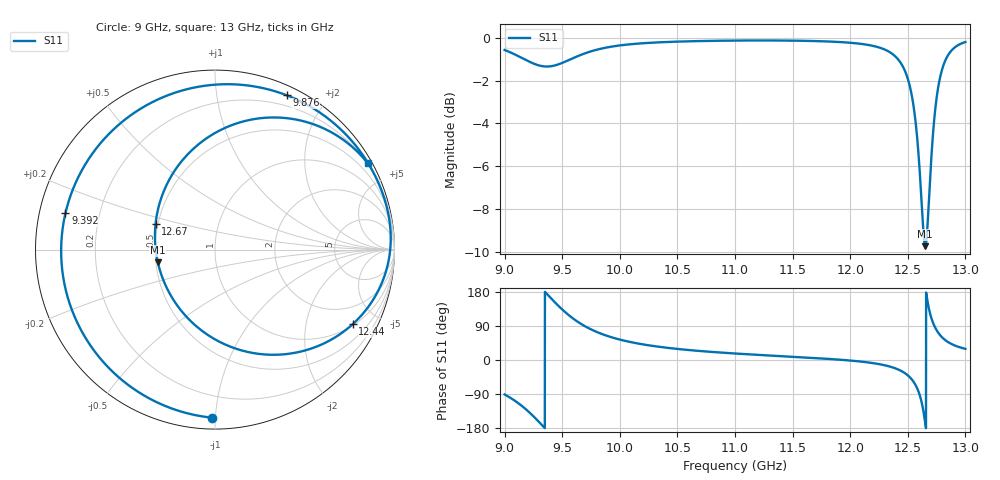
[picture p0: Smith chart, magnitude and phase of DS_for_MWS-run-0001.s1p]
! TOUCHSTONE file generated by CST DESIGN STUDIO
! Date and time: Tue Feb  4 13:24:44 2025
! Project name: C:\Work\MatlabApps\UnitCellOptimizationMatlab\CST\unitcell.cst
! Tree item: Tasks\Sweep1\SPara1\S-Parameters
! Header version: 2024
! Port assignment regex: !\s*Touchstone port\s*([0-9]+)\s*=\s*(CST MWS port|CST DES external port|CST DES block port)\s*(.+)\s* \(\"(.*)\"\)(\s*mode\s*([0-9]+))?.*
! Touchstone port assignment:
! Touchstone port 1 = CST DES external port 1 ("")
# GHz S MA R 50
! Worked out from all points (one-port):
!   4001 points, 9 GHz to 13 GHz, reference 50 ohm
!   lowest |S11| = -9.7 dB at 12.65 GHz (marker M1), VSWR 1.97, Z = 25.6 - j4.05 ohm
!   |S11| at or under -10 dB: nowhere
!   S11 on the Smith chart (normalised r, x): 9 GHz: 0.06, -0.98; 9.392 GHz: 0.08, +0.12; 9.876 GHz: 0.09, +1.56; 12.44 GHz: 1.05, -3.67; 12.67 GHz: 0.49, +0.16; 13 GHz: 0.18, +3.80
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9  0.9367 -91.0
9.1  0.9115 -109.8
9.188  0.8868 -130.9
9.298  0.8621 -163.3
9.392  0.8576 166.3
9.5  0.8738 133.3
9.574  0.8914 114.2
9.654  0.9106 97.0
9.876  0.9481 65.1
10  0.9599 53.9
10.215  0.9718 40.5
10.5  0.9797 29.2
11  0.9853 17.1
11.5  0.9849 8.5
12  0.9738 -1.4
12.288  0.9417 -13.1
12.44  0.8727 -28.4
12.5  0.8023 -40.5
12.552  0.687 -58.4
12.588  0.557 -79.3
12.619  0.4166 -110.0
12.652  0.3263 -167.5
12.67  0.36 157.0
12.716  0.5835 100.6
12.763  0.7641 72.6
12.808  0.8607 56.9
12.859  0.9192 45.6
13  0.9776 29.5
